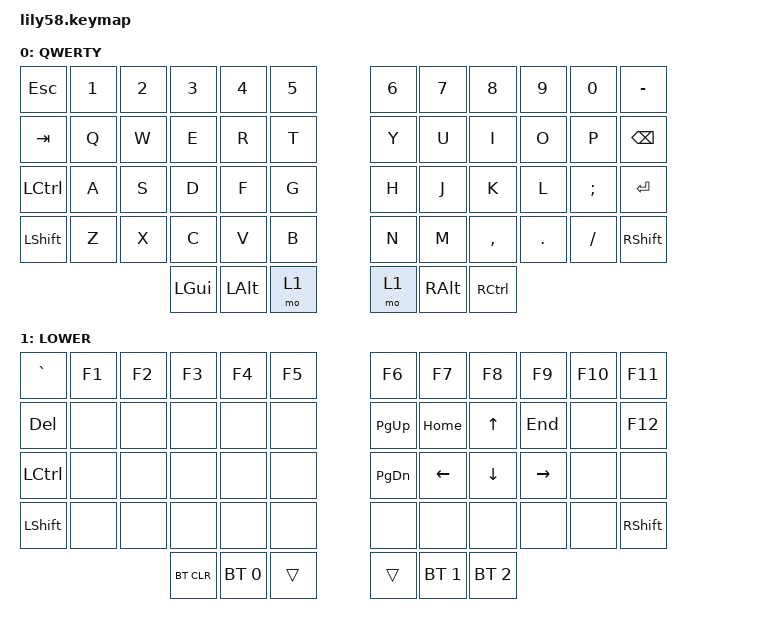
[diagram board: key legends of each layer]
#include <behaviors.dtsi>
#include <dt-bindings/zmk/keys.h>
#include <dt-bindings/zmk/bt.h>
#include <dt-bindings/zmk/outputs.h>

/ {

    behaviors {
        ht_enter: ht_enter {
            compatible = "zmk,behavior-hold-tap";
            label = "HOLD_TAP_ENTER";
            #binding-cells = <2>;
            tapping-term-ms = <200>;
            quick-tap-ms = <0>;
            flavor = "tap-preferred";
            bindings = <&kp>, <&kp>;
        };
    };

    keymap {
        compatible = "zmk,keymap";

        // ===== Layer 0：默认层 =====
        default_layer {
            display-name = "QWERTY";
            bindings = <

// <═══════════ 左手 ═══════════════╗   ╔═══════════ 右手 ═══════════════>

    &kp ESC      &kp N1    &kp N2    &kp N3    &kp N4    &kp N5       &kp N6     &kp N7    &kp N8    &kp N9    &kp N0      &kp MINUS
    &kp TAB      &kp Q     &kp W     &kp E     &kp R     &kp T        &kp Y      &kp U     &kp I     &kp O     &kp P       &kp BSPC
    &kp LCTRL    &kp A     &kp S     &kp D     &kp F     &kp G        &kp H      &kp J     &kp K     &kp L     &kp SEMI    &kp RET
    &kp LSHIFT   &kp Z     &kp X     &kp C     &kp V     &kp B        &kp N      &kp M     &kp COMMA &kp DOT   &kp SLASH   &kp RSHIFT
                      &kp LGUI    &kp LALT    &mo 1                           &mo 1      &kp RALT   &kp RCTRL

            >;
            sensor-bindings = <>;
        };

        // ===== Layer 1：功能层（左右拇指按住触发）=====
        lower_layer {
            display-name = "LOWER";
            bindings = <

    &kp GRAVE    &kp F1    &kp F2    &kp F3    &kp F4    &kp F5       &kp F6     &kp F7    &kp F8    &kp F9    &kp F10     &kp F11
    &kp DEL      &none     &none     &none     &none     &none         &kp PG_UP  &kp HOME  &kp UP    &kp END   &none       &kp F12
    &kp LCTRL    &none     &none     &none     &none     &none         &kp PG_DN  &kp LEFT  &kp DOWN  &kp RIGHT &none       &none
    &kp LSHIFT   &none     &none     &none     &none     &none         &none      &none     &none     &none     &none       &kp RSHIFT
                         &bt BT_CLR  &bt BT_SEL 0   &trans                     &trans     &bt BT_SEL 1   &bt BT_SEL 2

            >;
            sensor-bindings = <>;
        };

    };
};
